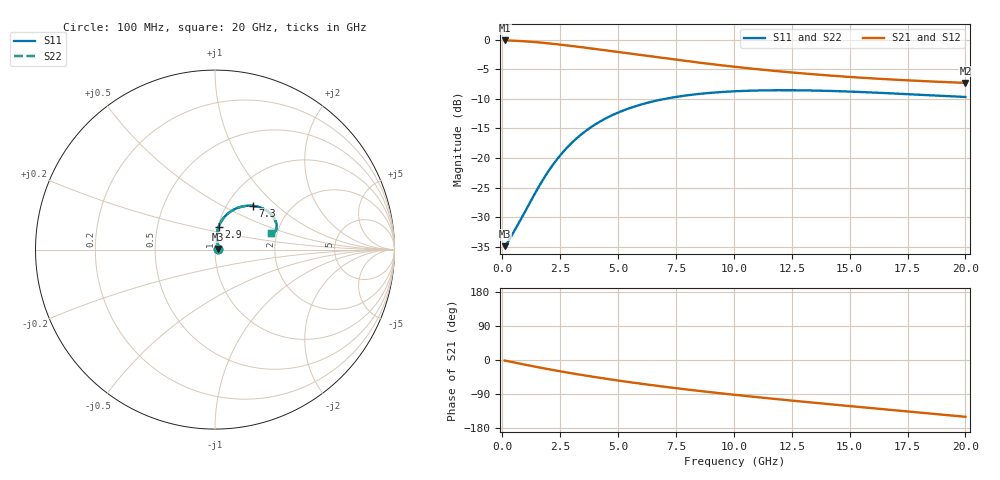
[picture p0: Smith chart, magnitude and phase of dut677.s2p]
! Touchstone file exported from HFSS 2024.1.0
!  File:  C:/UserFiles/LocalFiles/RDL_TSV_Batchsim/temp_RDL_TSV_677_1779815603.aedt
!  Generated:  01:31:42 AM May 27, 2026
!  Design:  RDL_TSV
!  Project:  temp_RDL_TSV_677_1779815603
!  Setup:  Setup1
!  Solution:  Sweep
! Variables:
!  dtsv = 6.79um
!  hbump = 3um
!  htsv = 74.92um
!  ldown = 293.64um
!  lrdl = 270.36um
!  p = 40
!  p1 = 47.74um
!  rhole = 10um
!  subl = 1962.36um
!  t = 450um
!  tdown = 2.95um
!  trdl = 2.1um
!  viad = 10um
!  wdown = 15.51um
!  wrdl = 18.76um
!  xbump = 18um
# GHz S MA R 50.000000
! Terminal data exported
! Port[1] = TM1_1_T1
! Port[2] = TM1_4_T1
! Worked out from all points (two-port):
!   200 points, 100 MHz to 20 GHz, reference 50 ohm
!   highest |S21| = -0.16 dB at 100 MHz (marker M1); lowest = -7.3 dB at 20 GHz (marker M2)
!   |S21| within 3 dB of the highest: start of sweep to 7.009 GHz
!   lowest |S11| = -34.9 dB at 100 MHz (marker M3), VSWR 1.04, Z = 51.8 + j0.349 ohm
!   |S11| at or under -10 dB: start of sweep to 7.041 GHz
!   |S22| runs from -34.9 to -8.6 dB; largest |S21 - S12| = 8.8e-15
!   S11 on the Smith chart (normalised r, x): 100 MHz: 1.04, +0.01; 2.9 GHz: 1.01, +0.26; 7.3 GHz: 1.32, +0.72; 20 GHz: 1.87, +0.38
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0.1  0.01807 10.7  0.982 -1.3  0.982 -1.3  0.01807 10.7
! Gamma 0 0 0 0
! Port Impedance 50 0 50 0
0.2  0.01905 20.5  0.9813 -2.6  0.9813 -2.6  0.01905 20.5
0.3  0.02045 28.8  0.9802 -3.9  0.9802 -3.9  0.02045 28.8
0.9  0.03298 61.1  0.9679 -11.4  0.9679 -11.4  0.03298 61.1
1.5  0.05402 77.4  0.9484 -18.6  0.9484 -18.6  0.05399 77.3
1.9  0.07277 81.7  0.9325 -23.2  0.9325 -23.2  0.07271 81.6
2.4  0.09967 82.7  0.9103 -28.8  0.9103 -28.8  0.09956 82.6
2.9  0.1285 81.1  0.8868 -34.1  0.8868 -34.1  0.1283 81.0
3.5  0.1634 77.3  0.8576 -40.2  0.8576 -40.2  0.1632 77.2
4.2  0.2022 72.0  0.8233 -46.9  0.8233 -46.9  0.2019 71.9
5  0.2419 65.6  0.7847 -54.2  0.7847 -54.2  0.2415 65.5
5.8  0.2757 59.4  0.7475 -61.0  0.7475 -61.0  0.2752 59.3
6.8  0.3094 52.3  0.7039 -69.0  0.7039 -69.0  0.3089 52.2
7.3  0.323 49.0  0.6834 -72.9  0.6834 -72.9  0.3224 49.0
8.7  0.3508 40.9  0.6313 -83.0  0.6313 -83.0  0.3502 40.8
10.1  0.3665 34.2  0.587 -92.3  0.587 -92.3  0.3657 34.1
11.7  0.3733 28.0  0.5452 -102.3  0.5452 -102.3  0.3725 27.9
13.4  0.3714 22.9  0.5098 -112.4  0.5098 -112.4  0.3706 22.8
15  0.3639 19.4  0.4834 -121.6  0.4834 -121.6  0.3631 19.3
16.7  0.3522 17.0  0.4613 -131.2  0.4613 -131.2  0.3514 16.9
18.3  0.3399 16.0  0.4447 -140.3  0.4447 -140.3  0.3391 15.9
20  0.3277 16.1  0.4306 -149.9  0.4306 -149.9  0.3269 16.0
